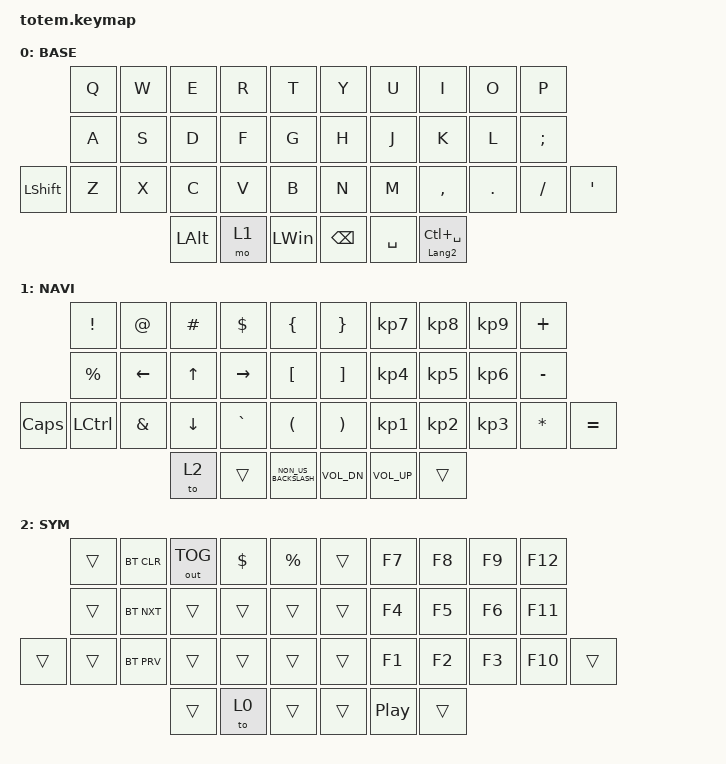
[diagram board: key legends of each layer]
// trigger build
// build                                                       ▀▀▀▀▀     ▀▀▀▀▀          ▀▀█▀▀
//                                                        ▄▀▀▀▄  ▄  ▄▀▀▀▄  ▄  ▄▀▀▀▄  █  ▄▀▀▀▄
//                                                        █   █  █  █   █  █  █   █  █  █   █
//                                                         ▀▀▀   █   ▀▀▀   █   ▀▀▀   ▀   ▀▀▀
//                                                               █      ▄▄▄█▄▄▄    █   █  
//                                                               ▀      █  █  █     █▄█
//                                                             ▀▀▀▀▀    █  █  █      ▀
//                                                                      ▀  ▀  ▀
//
// ▄▄▄▄▄▄▄▄▄▄▄▄▄▄▄▄▄▄▄▄▄▄▄▄▄▄▄▄▄▄▄▄▄▄▄▄▄▄▄▄▄▄▄▄▄▄▄▄▄▄▄▄▄▄▄▄▄▄▄▄▄▄▄▄▄▄▄▄▄▄▄▄▄▄▄▄▄▄▄▄▄▄▄▄▄▄▄▄▄▄▄▄▄▄▄▄▄▄▄▄▄▄▄▄▄▄▄▄▄▄▄▄▄▄▄▄▄▄▄▄▄▄▄▄▄▄▄▄▄▄▄▄▄▄▄▄▄▄▄▄▄▄▄▄▄▄▄▄▄

#include <behaviors.dtsi>
#include <dt-bindings/zmk/bt.h>
#include <dt-bindings/zmk/keys.h>
#include <dt-bindings/zmk/outputs.h>

#define BASE 0
#define NAV  1
#define SYM  2
#define ADJ  3
#define TVP1 4
#define TVP2 5

&mt {
    quick-tap-ms = <100>;
    global-quick-tap;
    flavor = "tap-preferred";
    tapping-term-ms = <170>;
};

/ {
    combos {
        compatible = "zmk,combos";

        combo_esc {
            timeout-ms = <50>;
            key-positions = <0 1>;
            bindings = <&kp ESC>;
        };

        combo_tap {
            timeout-ms = <100>;
            key-positions = <11 12 13>;
            bindings = <&kp TAB>;
        };

        combo_tilde {
            bindings = <&macro_tilde>;
            key-positions = <20 10>;
        };

        combo_enter {
            bindings = <&macro_enter>;
            key-positions = <16 17 18>;
        };

        combo_hyphen {
            bindings = <&macro_hyphen>;
            key-positions = <19 31>;
        };

        combo_prtscn {
            bindings = <&macro_prtscn>;
            key-positions = <4 14>;
        };

        combo_control_c {
            bindings = <&macro_controlC>;
            key-positions = <21 22>;
        };
    };

    macros {
        macro_esc: macro_esc {
            compatible = "zmk,behavior-macro";
            #binding-cells = <0>;
            bindings = <&kp ESC>;
            label = "MACRO_ESC";
        };

        macro_tab: macro_tab {
            compatible = "zmk,behavior-macro";
            #binding-cells = <0>;
            bindings = <&kp TAB>;
            label = "MACRO_TAB";
        };

        macro_tilde: macro_tilde {
            compatible = "zmk,behavior-macro";
            #binding-cells = <0>;
            bindings = <&kp TILDE>;
            label = "MACRO_TILDE";
        };

        macro_enter: macro_enter {
            compatible = "zmk,behavior-macro";
            #binding-cells = <0>;
            bindings = <&kp ENTER>;
            label = "MACRO_ENTER";
        };

        macro_hyphen: macro_hyphen {
            compatible = "zmk,behavior-macro";
            #binding-cells = <0>;
            bindings = <&none>;
            label = "MACRO_HYPHEN";
        };

        macro_prtscn: macro_prtscn {
            compatible = "zmk,behavior-macro";
            #binding-cells = <0>;
            bindings = <&kp PRINTSCREEN>;
            label = "MACRO_PRTSCN";
        };

        macro_controlC: macro_controlC {
            compatible = "zmk,behavior-macro";
            #binding-cells = <0>;
            bindings = <&kp LC(C)>;
            label = "MACRO_CONTROLC";
        };
    };

    keymap {
        compatible = "zmk,keymap";

        // ▄▄▄▄▄▄▄▄▄▄▄▄▄▄▄▄▄▄▄▄▄▄▄▄▄▄▄▄▄▄▄▄▄▄▄▄▄▄▄▄▄▄▄▄▄▄▄▄▄▄▄▄▄▄▄▄▄▄▄▄▄▄▄▄▄▄▄▄▄▄▄▄▄▄▄▄▄▄▄▄▄▄▄▄▄▄▄▄▄▄▄▄▄▄▄▄▄▄▄▄▄▄▄▄▄▄▄▄▄▄▄▄▄▄▄▄▄▄▄▄▄▄▄▄▄▄▄▄▄▄▄▄▄▄▄▄▄▄▄▄▄▄▄▄▄▄▄▄▄

        base_layer {
            // ┏━━━━━━━━━━━━━━━━━━━━━━━━━━━━━━━━━━━━━━━┓

            label = "BASE";

            // ┗━━━━━━━━━━━━━━━━━━━━━━━━━━━━━━━━━━━━━━━┛
            //             ┏━━━━━━━━━━━┳━━━━━━━━━━━┳━━━━━━━━━━━┳━━━━━━━━━━━┳━━━━━━━━━━━┓   ┏━━━━━━━━━━━┳━━━━━━━━━━━┳━━━━━━━━━━━┳━━━━━━━━━━━┳━━━━━━━━━━━┓
            //             ┃     Q     ┃     W     ┃     F     ┃     P     ┃     G     ┃   ┃     J     ┃     L     ┃     U     ┃     Y     ┃     ;     ┃
            //             ┣━━━━━━━━━━━╋━━━━━━━━━━━╋━━━━━━━━━━━╋━━━━━━━━━━━╋━━━━━━━━━━━┫   ┣━━━━━━━━━━━╋━━━━━━━━━━━╋━━━━━━━━━━━╋━━━━━━━━━━━╋━━━━━━━━━━━┫
            //             ┃     A     ┃     R     ┃     S     ┃     T     ┃     D     ┃   ┃     H     ┃     N     ┃     E     ┃     I     ┃     O     ┃
            // ┏━━━━━━━━━━━╋━━━━━━━━━━━╋━━━━━━━━━━━╋━━━━━━━━━━━╋━━━━━━━━━━━╋━━━━━━━━━━━┫   ┣━━━━━━━━━━━╋━━━━━━━━━━━╋━━━━━━━━━━━╋━━━━━━━━━━━╋━━━━━━━━━━━╋━━━━━━━━━━━┓
            // ┃     Q     ┃     Z     ┃     X     ┃     C     ┃     V     ┃     B     ┃   ┃     K     ┃     M     ┃     ,     ┃     .     ┃     /     ┃     \     ┃
            // ┗━━━━━━━━━━━┻━━━━━━━━━━━┻━━━━━━━━━━━╋━━━━━━━━━━━╋━━━━━━━━━━━╋━━━━━━━━━━━┫   ┣━━━━━━━━━━━╋━━━━━━━━━━━╋━━━━━━━━━━━╋━━━━━━━━━━━┻━━━━━━━━━━━┻━━━━━━━━━━━┛
            //                                     ┃    DEL    ┃    TAB    ┃    SPC    ┃   ┃   ENTER   ┃           ┃   BSPC    ┃
            //                                     ┗━━━━━━━━━━━┻━━━━━━━━━━━┻━━━━━━━━━━━┛   ┗━━━━━━━━━━━┻━━━━━━━━━━━┻━━━━━━━━━━━┛

            bindings = <
                &kp Q  &kp W  &kp E         &kp R  &kp T           &kp Y          &kp U      &kp I                     &kp O    &kp P
                &kp A  &kp S  &kp D         &kp F  &kp G           &kp H          &kp J      &kp K                     &kp L    &kp SEMICOLON
&kp LEFT_SHIFT  &kp Z  &kp X  &kp C         &kp V  &kp B           &kp N          &kp M      &kp COMMA                 &kp DOT  &kp FSLH       &kp SQT
                              &kp LEFT_ALT  &mo 1  &kp LEFT_WIN    &kp BACKSPACE  &kp SPACE  &mt LANGUAGE_2 LC(SPACE)
            >;
        };

        // ▄▄▄▄▄▄▄▄▄▄▄▄▄▄▄▄▄▄▄▄▄▄▄▄▄▄▄▄▄▄▄▄▄▄▄▄▄▄▄▄▄▄▄▄▄▄▄▄▄▄▄▄▄▄▄▄▄▄▄▄▄▄▄▄▄▄▄▄▄▄▄▄▄▄▄▄▄▄▄▄▄▄▄▄▄▄▄▄▄▄▄▄▄▄▄▄▄▄▄▄▄▄▄▄▄▄▄▄▄▄▄▄▄▄▄▄▄▄▄▄▄▄▄▄▄▄▄▄▄▄▄▄▄▄▄▄▄▄▄▄▄▄▄▄▄▄▄▄▄

        nav_layer {
            // ┏━━━━━━━━━━━━━━━━━━━━━━━━━━━━━━━━━━━━━━━┓

            label = "NAVI";

            // ┗━━━━━━━━━━━━━━━━━━━━━━━━━━━━━━━━━━━━━━━┛
            //             ┏━━━━━━━━━━━┳━━━━━━━━━━━┳━━━━━━━━━━━┳━━━━━━━━━━━┳━━━━━━━━━━━┓   ┏━━━━━━━━━━━┳━━━━━━━━━━━┳━━━━━━━━━━━┳━━━━━━━━━━━┳━━━━━━━━━━━┓
            //             ┃           ┃           ┃     UP    ┃           ┃     {     ┃   ┃     }     ┃     7     ┃     8     ┃     9     ┃     +     ┃
            //             ┣━━━━━━━━━━━╋━━━━━━━━━━━╋━━━━━━━━━━━╋━━━━━━━━━━━╋━━━━━━━━━━━┫   ┣━━━━━━━━━━━╋━━━━━━━━━━━╋━━━━━━━━━━━╋━━━━━━━━━━━╋━━━━━━━━━━━┫
            //             ┃   SHIFT   ┃   LEFT    ┃    DOWN   ┃   RIGHT   ┃     [     ┃   ┃     ]     ┃     4     ┃     5     ┃     6     ┃     -     ┃
            // ┏━━━━━━━━━━━╋━━━━━━━━━━━╋━━━━━━━━━━━╋━━━━━━━━━━━╋━━━━━━━━━━━╋━━━━━━━━━━━┫   ┣━━━━━━━━━━━╋━━━━━━━━━━━╋━━━━━━━━━━━╋━━━━━━━━━━━╋━━━━━━━━━━━╋━━━━━━━━━━━┓
            // ┃           ┃           ┃   P UP    ┃  C LOCK   ┃  P DOWN   ┃     (     ┃   ┃     )     ┃     1     ┃     2     ┃     3     ┃     *     ┃           ┃
            // ┗━━━━━━━━━━━┻━━━━━━━━━━━┻━━━━━━━━━━━╋━━━━━━━━━━━╋━━━━━━━━━━━╋━━━━━━━━━━━┫   ┣━━━━━━━━━━━╋━━━━━━━━━━━╋━━━━━━━━━━━╋━━━━━━━━━━━┻━━━━━━━━━━━┻━━━━━━━━━━━┛
            //                                     ┃           ┃    TAB    ┃    SPC    ┃   ┃    DEL    ┃     0     ┃           ┃
            //                                     ┗━━━━━━━━━━━┻━━━━━━━━━━━┻━━━━━━━━━━━┛   ┗━━━━━━━━━━━┻━━━━━━━━━━━┻━━━━━━━━━━━┛

            bindings = <
              &kp EXCLAMATION  &kp AT_SIGN    &kp HASH      &kp DOLLAR  &kp LBRC                &kp RBRC      &kp KP_N7     &kp KP_N8  &kp KP_N9  &kp PLUS
              &kp PERCENT      &kp LEFT       &kp UP_ARROW  &kp RIGHT   &kp LBKT                &kp RBKT      &kp KP_N4     &kp KP_N5  &kp KP_N6  &kp MINUS
&kp CAPSLOCK  &kp LCTRL        &kp AMPERSAND  &kp DOWN      &kp GRAVE   &kp LPAR                &kp RPAR      &kp KP_N1     &kp KP_N2  &kp KP_N3  &kp ASTERISK  &kp EQUAL
                                              &to 2         &trans      &kp NON_US_BACKSLASH    &kp C_VOL_DN  &kp C_VOL_UP  &trans
            >;
        };

        // ▄▄▄▄▄▄▄▄▄▄▄▄▄▄▄▄▄▄▄▄▄▄▄▄▄▄▄▄▄▄▄▄▄▄▄▄▄▄▄▄▄▄▄▄▄▄▄▄▄▄▄▄▄▄▄▄▄▄▄▄▄▄▄▄▄▄▄▄▄▄▄▄▄▄▄▄▄▄▄▄▄▄▄▄▄▄▄▄▄▄▄▄▄▄▄▄▄▄▄▄▄▄▄▄▄▄▄▄▄▄▄▄▄▄▄▄▄▄▄▄▄▄▄▄▄▄▄▄▄▄▄▄▄▄▄▄▄▄▄▄▄▄▄▄▄▄▄▄▄

        sim_layer {
            // ┏━━━━━━━━━━━━━━━━━━━━━━━━━━━━━━━━━━━━━━━┓

            label = "SYM";

            // ┗━━━━━━━━━━━━━━━━━━━━━━━━━━━━━━━━━━━━━━━┛
            //             ┏━━━━━━━━━━━┳━━━━━━━━━━━┳━━━━━━━━━━━┳━━━━━━━━━━━┳━━━━━━━━━━━┓   ┏━━━━━━━━━━━┳━━━━━━━━━━━┳━━━━━━━━━━━┳━━━━━━━━━━━┳━━━━━━━━━━━┓
            //             ┃     !     ┃     @     ┃     #     ┃     $     ┃     %     ┃   ┃     ˆ     ┃     &     ┃     Ü     ┃     '     ┃     "     ┃
            //             ┣━━━━━━━━━━━╋━━━━━━━━━━━╋━━━━━━━━━━━╋━━━━━━━━━━━╋━━━━━━━━━━━┫   ┣━━━━━━━━━━━╋━━━━━━━━━━━╋━━━━━━━━━━━╋━━━━━━━━━━━╋━━━━━━━━━━━┫
            //             ┃     Ä     ┃           ┃    SZ     ┃           ┃           ┃   ┃   MUTE    ┃   YEN     ┃   EURO    ┃  POUND    ┃     Ö     ┃
            // ┏━━━━━━━━━━━╋━━━━━━━━━━━╋━━━━━━━━━━━╋━━━━━━━━━━━╋━━━━━━━━━━━╋━━━━━━━━━━━┫   ┣━━━━━━━━━━━╋━━━━━━━━━━━╋━━━━━━━━━━━╋━━━━━━━━━━━╋━━━━━━━━━━━╋━━━━━━━━━━━┓
            // ┃           ┃  EMAIL1   ┃  EMAIL2   ┃           ┃           ┃           ┃   ┃   VOL-    ┃   VOL+    ┃   LAST    ┃   NEXT    ┃     \     ┃           ┃
            // ┗━━━━━━━━━━━┻━━━━━━━━━━━┻━━━━━━━━━━━╋━━━━━━━━━━━╋━━━━━━━━━━━╋━━━━━━━━━━━┫   ┣━━━━━━━━━━━╋━━━━━━━━━━━╋━━━━━━━━━━━╋━━━━━━━━━━━┻━━━━━━━━━━━┻━━━━━━━━━━━┛
            //                                     ┃           ┃    GIF    ┃    ADJ    ┃   ┃           ┃           ┃           ┃
            //                                     ┗━━━━━━━━━━━┻━━━━━━━━━━━┻━━━━━━━━━━━┛   ┗━━━━━━━━━━━┻━━━━━━━━━━━┻━━━━━━━━━━━┛

            bindings = <
        &trans  &bt BT_CLR  &out OUT_TOG  &kp DLLR  &kp PRCNT    &trans  &kp F7    &kp F8  &kp F9  &kp F12
        &trans  &bt BT_NXT  &trans        &trans    &trans       &trans  &kp F4    &kp F5  &kp F6  &kp F11
&trans  &trans  &bt BT_PRV  &trans        &trans    &trans       &trans  &kp F1    &kp F2  &kp F3  &kp F10  &trans
                            &trans        &to 0     &trans       &trans  &kp C_PP  &trans
            >;
        };

        // ▄▄▄▄▄▄▄▄▄▄▄▄▄▄▄▄▄▄▄▄▄▄▄▄▄▄▄▄▄▄▄▄▄▄▄▄▄▄▄▄▄▄▄▄▄▄▄▄▄▄▄▄▄▄▄▄▄▄▄▄▄▄▄▄▄▄▄▄▄▄▄▄▄▄▄▄▄▄▄▄▄▄▄▄▄▄▄▄▄▄▄▄▄▄▄▄▄▄▄▄▄▄▄▄▄▄▄▄▄▄▄▄▄▄▄▄▄▄▄▄▄▄▄▄▄▄▄▄▄▄▄▄▄▄▄▄▄▄▄▄▄▄▄▄▄▄▄▄▄
        // ▄▄▄▄▄▄▄▄▄▄▄▄▄▄▄▄▄▄▄▄▄▄▄▄▄▄▄▄▄▄▄▄▄▄▄▄▄▄▄▄▄▄▄▄▄▄▄▄▄▄▄▄▄▄▄▄▄▄▄▄▄▄▄▄▄▄▄▄▄▄▄▄▄▄▄▄▄▄▄▄▄▄▄▄▄▄▄▄▄▄▄▄▄▄▄▄▄▄▄▄▄▄▄▄▄▄▄▄▄▄▄▄▄▄▄▄▄▄▄▄▄▄▄▄▄▄▄▄▄▄▄▄▄▄▄▄▄▄▄▄▄▄▄▄▄▄▄▄▄
        // ▄▄▄▄▄▄▄▄▄▄▄▄▄▄▄▄▄▄▄▄▄▄▄▄▄▄▄▄▄▄▄▄▄▄▄▄▄▄▄▄▄▄▄▄▄▄▄▄▄▄▄▄▄▄▄▄▄▄▄▄▄▄▄▄▄▄▄▄▄▄▄▄▄▄▄▄▄▄▄▄▄▄▄▄▄▄▄▄▄▄▄▄▄▄▄▄▄▄▄▄▄▄▄▄▄▄▄▄▄▄▄▄▄▄▄▄▄▄▄▄▄▄▄▄▄▄▄▄▄▄▄▄▄▄▄▄▄▄▄▄▄▄▄▄▄▄▄▄▄
    };
};
